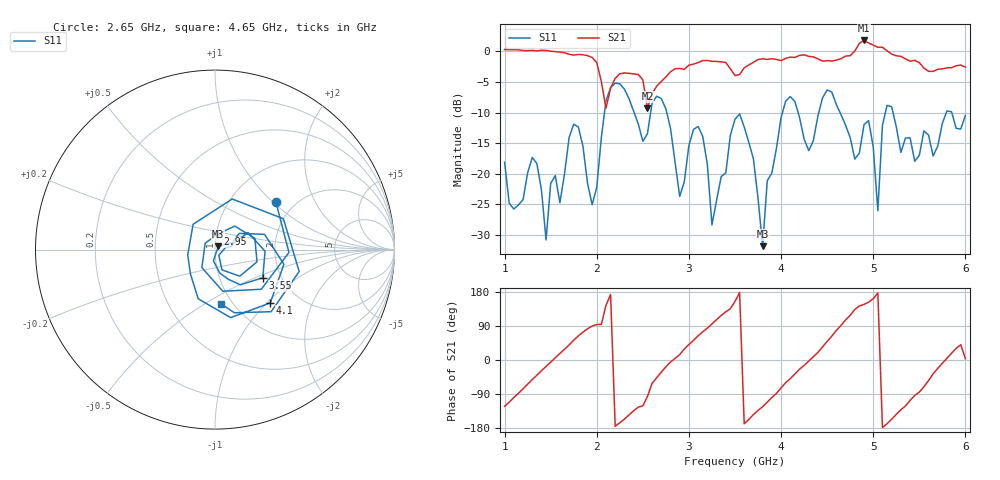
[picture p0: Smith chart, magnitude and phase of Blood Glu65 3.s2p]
! NanoVNA-App
! Date: 2024-03-21 12:48:21
! Start: 1GHz Stop: 6GHz Points: 101
! S-Parameter data: F S11 S21 S12 S22
# Hz S RI R 50
!	Frequency	S11_Real	S11_Imag	S21_Real	S21_Imag	S12_Real	S12_Imag	S22_Real	S22_Imag
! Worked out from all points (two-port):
!   101 points, 1 GHz to 6 GHz, reference 50 ohm
!   highest |S21| = 1.79 dB at 4.9 GHz (marker M1); lowest = -9.3 dB at 2.55 GHz (marker M2)
!   |S21| within 3 dB of the highest: start of sweep to 1.963 GHz; 4.648 GHz to 5.349 GHz (700.7 MHz wide, 14 % of centre)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
!   lowest |S11| = -31.8 dB at 3.8 GHz (marker M3), VSWR 1.05, Z = 51.9 + j1.85 ohm
!   |S11| at or under -10 dB: start of sweep to 2.084 GHz; 2.76 GHz to 4.015 GHz (1.255 GHz wide, 37 % of centre); 5.215 GHz to 5.793 GHz (578.3 MHz wide, 10.5 % of centre)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
!   S12 and S22 are empty: the file has one direction only
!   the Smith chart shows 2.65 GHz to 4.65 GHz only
!   S11 on the Smith chart (normalised r, x): 2.65 GHz: 1.60, +1.05; 2.95 GHz: 1.01, +0.17; 3.55 GHz: 1.61, -0.56; 4.1 GHz: 1.44, -1.05; 4.65 GHz: 0.89, -0.59
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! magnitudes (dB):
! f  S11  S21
! 1 GHz  -18.1  0.3
! 1.35 GHz  -18.3  0.1
! 1.45 GHz  -30.8  0.2
! 1.85 GHz  -15.5  -0.5
! 1.95 GHz  -25.0  -1.0
! 2.15 GHz  -5.9  -6.0
! 2.55 GHz  -13.4  -9.3
! 2.65 GHz  -7.3  -5.7
! 2.7 GHz  -7.7  -4.9
! 2.95 GHz  -21.3  -2.9
! 3.1 GHz  -12.3  -1.8
! 3.25 GHz  -28.3  -1.6
! 3.5 GHz  -11.1  -3.9
! 3.55 GHz  -10.2  -3.8
! 3.8 GHz  -31.8  -1.2
! 4.1 GHz  -7.4  -0.9
! 4.35 GHz  -14.6  -0.9
! 4.65 GHz  -10.3  -1.2
! 4.9 GHz  -12.0  1.8
! 5.05 GHz  -26.0  0.7
! 5.2 GHz  -9.0  -0.4
! 6 GHz  -10.4  -2.6
